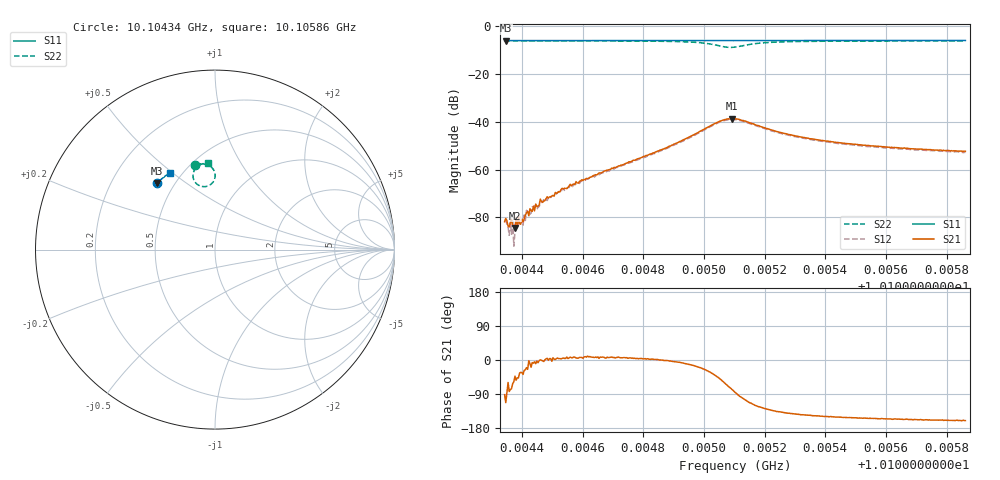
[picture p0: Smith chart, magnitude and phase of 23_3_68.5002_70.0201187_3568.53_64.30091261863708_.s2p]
#  HZ  S  RI  R  50.00
! Rohde & Schwarz Vector Network Analyzer
! Rohde-Schwarz,ZNB20-2Port,1311601062101988,3.16
! Created: UTC 3/20/2024, 4:49:37 PM
! freq[Hz]  re:S11  im:S11  re:S21  im:S21  re:S12  im:S12  re:S22  im:S22
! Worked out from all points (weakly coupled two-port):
!   401 points, 10.10434 GHz to 10.10586 GHz, reference 50 ohm
!   highest |S21| = -38.71 dB at 10.10509 GHz (marker M1); lowest = -84.4 dB at 10.10438 GHz (marker M2)
!   lowest |S11| = -6.2 dB at 10.10435 GHz (marker M3), VSWR 2.94, Z = 20 + j19.6 ohm
!   |S11| at or under -10 dB: nowhere
!   |S22| runs from -9.0 to -6.3 dB; largest |S21 - S12| = 0.0012
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1.0104343e10  -0.3237 0.3709  -2.18e-06 -8.13e-05  1.61e-05 -8.45e-05  -0.11 0.4721
1.0104347e10  -0.3236 0.3709  -3.64e-05 -8.8e-05  1.28e-05 -8.6e-05  -0.1098 0.472
1.0104377e10  -0.3221 0.3723  4.45e-05 -4.08e-05  3.17e-05 -3.93e-05  -0.1072 0.4728
1.0104404e10  -0.3209 0.3735  6.34e-05 -4.97e-05  6.16e-05 -3.09e-05  -0.1052 0.4731
1.0104438e10  -0.3196 0.375  0.000169 -2.47e-05  0.000161 -4.18e-05  -0.1023 0.4738
1.0104449e10  -0.3189 0.3754  0.000168 -8.58e-06  0.000146 -5.97e-06  -0.1012 0.474
1.0104453e10  -0.3187 0.3756  0.000171 -2.15e-05  0.000163 -5.43e-07  -0.1009 0.4741
1.0104468e10  -0.318 0.3762  0.000206 -7.89e-06  0.000217 3.07e-05  -0.0996 0.4743
1.0104529e10  -0.3153 0.3787  0.000383 2.06e-05  0.000338 5.9e-05  -0.0941 0.4754
1.0104597e10  -0.3121 0.3814  0.000607 7.3e-05  0.000567 9.16e-05  -0.0872 0.4764
1.0104852e10  -0.3003 0.3917  0.00246 1e-05  0.00237 0.00021  -0.0504 0.4753
1.0104935e10  -0.2963 0.3948  0.0042 -0.000648  0.00405 -0.00027  -0.0273 0.465
1.0105027e10  -0.2916 0.398  0.007 -0.00484  0.00709 -0.00407  0.00106 0.4124
1.0105065e10  -0.2898 0.399  0.00582 -0.00916  0.00638 -0.00826  -0.0188 0.3672
1.0105091e10  -0.2889 0.3997  0.00266 -0.0113  0.0035 -0.0106  -0.0578 0.3506
1.0105103e10  -0.2883 0.4002  0.000952 -0.0115  0.00194 -0.0108  -0.076 0.3525
1.0105144e10  -0.2868 0.4019  -0.00335 -0.00922  -0.00236 -0.00913  -0.1169 0.3862
1.0105197e10  -0.2844 0.4041  -0.00455 -0.00598  -0.00388 -0.00609  -0.1211 0.427
1.0105262e10  -0.2813 0.4066  -0.00426 -0.0038  -0.00378 -0.00398  -0.1091 0.4515
1.0105357e10  -0.2767 0.4103  -0.00364 -0.00238  -0.00326 -0.00258  -0.0927 0.4668
1.0105611e10  -0.264 0.4192  -0.00266 -0.00122  -0.00243 -0.0014  -0.0629 0.4798
1.0105862e10  -0.2513 0.4277  -0.00226 -0.000823  -0.00206 -0.000993  -0.0417 0.4846
